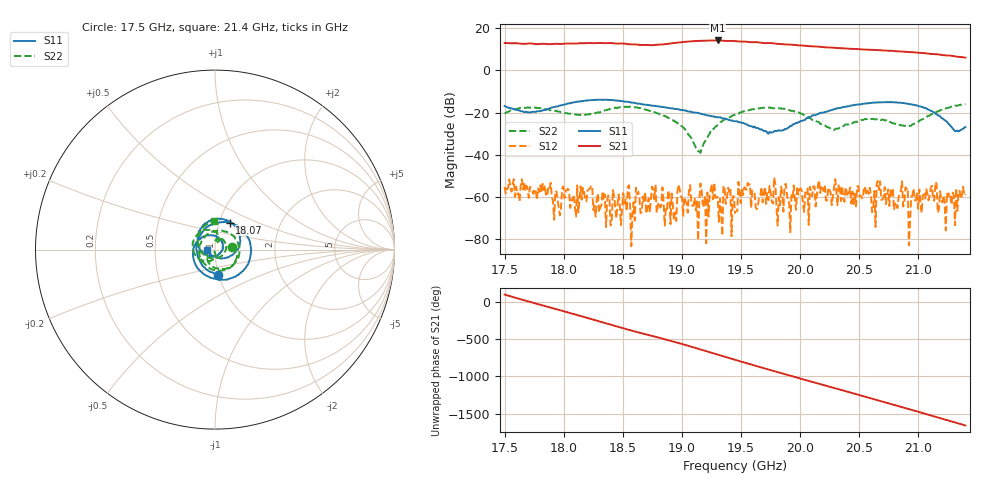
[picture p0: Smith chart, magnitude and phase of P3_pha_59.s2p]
!Created with skrf (http://scikit-rf.org).
# GHz S RI R 50.0
!freq ReS11 ImS11 ReS21 ImS21 ReS12 ImS12 ReS22 ImS22
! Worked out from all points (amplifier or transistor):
!   401 points, 17.5 GHz to 21.4 GHz, reference 50 ohm
!   highest |S21| = 14.3 dB at 19.3 GHz (marker M1)
!   |S21| within 3 dB of that: start of sweep to 20.16 GHz
!   unconditionally stable (mu >= 1): start of sweep to end of sweep
!   at 18.14 GHz: K = 61.50, MAG = 13.1 dB, |S12| = -55.1 dB
!   at 19.45 GHz: K = 240.29, MAG = 14.1 dB, |S12| = -67.7 dB
!   at 21.4 GHz: K = 205.66, MAG = 6.3 dB, |S12| = -58.7 dB
!   S11 on the Smith chart (normalised r, x): 17.5 GHz: 0.99, -0.29; 18.07 GHz: 1.12, +0.35; 21.4 GHz: 0.91, -0.00
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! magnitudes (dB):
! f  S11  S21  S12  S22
! 17.5 GHz  -16.9  13.1  -55.4  -20.5
! 18.07 GHz  -15.3  12.8  -61.3  -20.6
! 18.15 GHz  -14.6  12.9  -61.5  -21.0
! 18.38 GHz  -13.9  13.0  -59.4  -18.6
! 18.53 GHz  -14.9  12.6  -66.8  -17.3
! 18.58 GHz  -15.3  12.5  -67.4  -17.4
! 18.63 GHz  -15.8  12.2  -57.7  -17.8
! 18.81 GHz  -17.1  12.3  -62.7  -20.6
! 18.94 GHz  -18.3  13.1  -67.5  -24.2
! 18.98 GHz  -18.5  13.4  -56.7  -25.5
! 19.15 GHz  -20.3  14.1  -62.5  -38.4
! 19.3 GHz  -22.3  14.3  -60.1  -25.8
! 19.45 GHz  -24.2  14.0  -67.7  -21.1
! 19.56 GHz  -25.8  13.6  -53.5  -19.0
! 19.92 GHz  -26.3  12.3  -77.0  -19.1
! 20.1 GHz  -21.5  11.5  -59.8  -23.5
! 20.57 GHz  -15.7  9.9  -57.1  -23.1
! 20.62 GHz  -15.3  9.8  -66.2  -23.0
! 20.67 GHz  -15.2  9.7  -56.8  -23.1
! 20.76 GHz  -15.1  9.4  -64.5  -24.4
! 20.94 GHz  -16.1  8.7  -59.9  -26.2
! 21.4 GHz  -26.9  6.2  -58.7  -16.0
